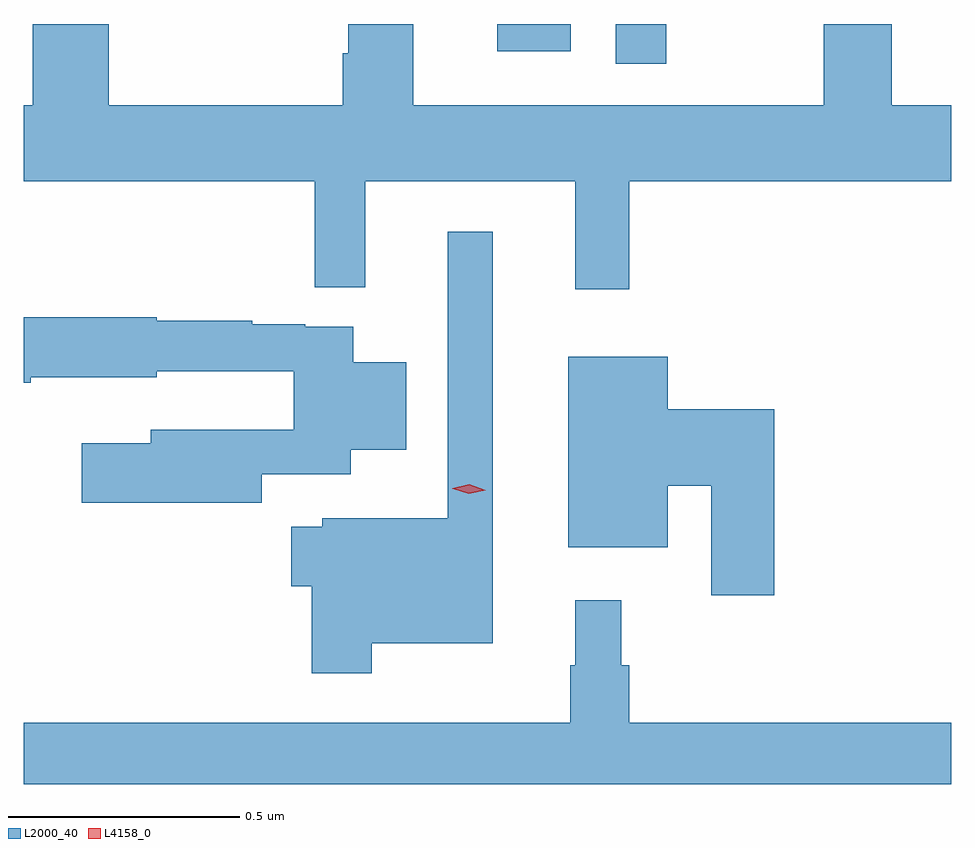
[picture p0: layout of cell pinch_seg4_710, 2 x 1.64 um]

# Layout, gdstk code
import gdstk
lib = gdstk.Library(unit=1e-6, precision=1e-09)
def R(c, l, rs):  # rectangles x0, y0, x1, y1
    for r in rs: c.add(gdstk.rectangle(r[:2], r[2:], *l))
def P(c, l, *ps):  # polygons
    for p in ps: c.add(gdstk.Polygon(p, *l))
L2000_40 = (2000, 40)
L4158_0 = (4158, 0)

pinch_seg4_710 = lib.new_cell('pinch_seg4_710')
R(pinch_seg4_710, L2000_40, [(1113.318,750.453,1113.427,750.539), (1113.062,750.48,1113.22,750.539)])
P(pinch_seg4_710, L2000_40, [(1113.347,750.2),(1114.041,750.2),(1114.041,750.364),(1113.913,750.364),(1113.913,750.539),(1113.766,750.539),(1113.766,750.364),(1112.881,750.364),(1112.881,750.539),(1112.741,750.539),(1112.741,750.476),(1112.729,750.476),(1112.729,750.364),(1112.224,750.364),(1112.224,750.539),(1112.06,750.539),(1112.06,750.364),(1112.041,750.364),(1112.041,750.2),(1112.668,750.2),(1112.668,749.971),(1112.777,749.971),(1112.777,750.2),(1113.23,750.2),(1113.23,749.967),(1113.347,749.967)],
  [(1112.791,749.204),(1113.052,749.204),(1113.052,750.091),(1112.955,750.091),(1112.955,749.473),(1112.685,749.473),(1112.685,749.455),(1112.618,749.455),(1112.618,749.326),(1112.662,749.326),(1112.662,749.139),(1112.791,749.139)],
  [(1112.554,749.568),(1112.746,749.568),(1112.746,749.621),(1112.866,749.621),(1112.866,749.809),(1112.752,749.809),(1112.752,749.886),(1112.648,749.886),(1112.648,749.892),(1112.534,749.892),(1112.534,749.899),(1112.328,749.899),(1112.328,749.907),(1112.041,749.907),(1112.041,749.765),(1112.056,749.765),(1112.056,749.777),(1112.328,749.777),(1112.328,749.79),(1112.623,749.79),(1112.623,749.664),(1112.315,749.664),(1112.315,749.635),(1112.166,749.635),(1112.166,749.506),(1112.554,749.506)],
  [(1113.659,749.708),(1113.43,749.708),(1113.43,749.821),(1113.215,749.821),(1113.215,749.411),(1113.43,749.411),(1113.43,749.543),(1113.524,749.543),(1113.524,749.307),(1113.659,749.307)],
  [(1114.041,749.032),(1113.347,749.032),(1113.347,749.156),(1113.329,749.156),(1113.329,749.296),(1113.23,749.296),(1113.23,749.156),(1113.219,749.156),(1113.219,749.032),(1112.041,749.032),(1112.041,748.9),(1114.041,748.9)])
P(pinch_seg4_710, L4158_0, [(1113.001,749.526),(1112.966,749.537),(1112.965,749.537),(1112.966,749.538),(1113.002,749.546),(1113.037,749.534),(1113.037,749.534),(1113.037,749.534)])

lib.write_gds('pinch_seg4_710.gds')
